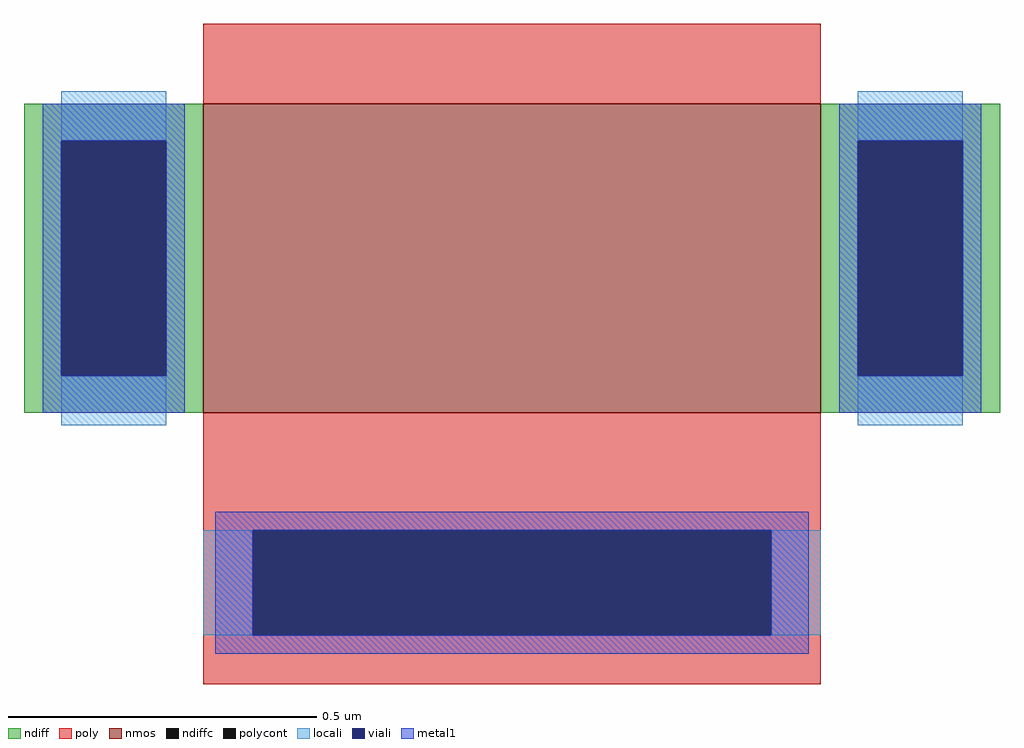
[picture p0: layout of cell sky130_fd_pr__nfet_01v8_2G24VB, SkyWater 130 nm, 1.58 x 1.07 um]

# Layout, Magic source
magic
tech sky130A
magscale 1 2
<< nmos >>
rect -100 -19 100 81
<< ndiff >>
rect -158 69 -100 81
rect -158 -7 -146 69
rect -112 -7 -100 69
rect -158 -19 -100 -7
rect 100 69 158 81
rect 100 -7 112 69
rect 146 -7 158 69
rect 100 -19 158 -7
<< ndiffc >>
rect -146 -7 -112 69
rect 112 -7 146 69
<< poly >>
rect -100 81 100 107
rect -100 -57 100 -19
rect -100 -91 -84 -57
rect 84 -91 100 -57
rect -100 -107 100 -91
<< polycont >>
rect -84 -91 84 -57
<< locali >>
rect -146 69 -112 85
rect -146 -23 -112 -7
rect 112 69 146 85
rect 112 -23 146 -7
rect -100 -91 -84 -57
rect 84 -91 100 -57
<< viali >>
rect -146 -7 -112 69
rect 112 -7 146 69
rect -84 -91 84 -57
<< metal1 >>
rect -152 69 -106 81
rect -152 -7 -146 69
rect -112 -7 -106 69
rect -152 -19 -106 -7
rect 106 69 152 81
rect 106 -7 112 69
rect 146 -7 152 69
rect 106 -19 152 -7
rect -96 -57 96 -51
rect -96 -91 -84 -57
rect 84 -91 96 -57
rect -96 -97 96 -91
<< properties >>
string gencell sky130_fd_pr__nfet_01v8
string library sky130
string parameters w 0.5 l 1 m 1 nf 1 diffcov 100 polycov 100 guard 0 glc 0 grc 0 gtc 0 gbc 0 tbcov 100 rlcov 100 topc 0 botc 1 poverlap 0 doverlap 0 lmin 0.15 wmin 0.42 compatible {sky130_fd_pr__nfet_01v8 sky130_fd_pr__nfet_01v8_lvt  sky130_fd_bs_flash__special_sonosfet_star  sky130_fd_pr__nfet_g5v0d10v5 sky130_fd_pr__nfet_05v0_nvt  sky130_fd_pr__nfet_03v3_nvt} full_metal 0 viasrc 100 viadrn 100 viagate 100 viagb 0 viagr 0 viagl 0 viagt 0
<< end >>
